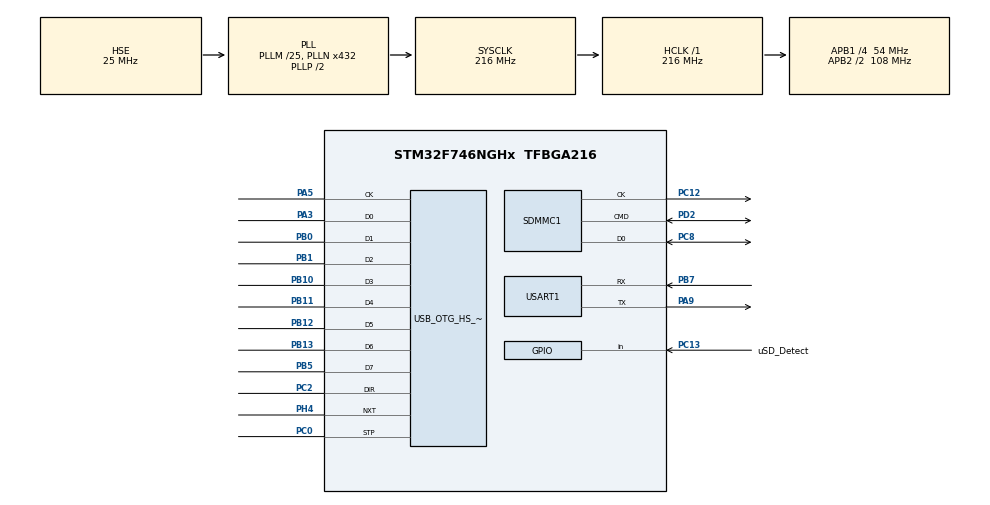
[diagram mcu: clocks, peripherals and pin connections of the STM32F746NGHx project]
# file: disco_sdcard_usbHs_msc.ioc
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CORTEX_M7.CPU_DCache=Enabled
CORTEX_M7.CPU_ICache=Enabled
CORTEX_M7.default_mode_Activation=1
Dma.Request0=SDMMC1_RX
Dma.Request1=SDMMC1_TX
Dma.SDMMC1_RX.0.Direction=DMA_PERIPH_TO_MEMORY
Dma.SDMMC1_RX.0.FIFOMode=DMA_FIFOMODE_ENABLE
Dma.SDMMC1_RX.0.FIFOThreshold=DMA_FIFO_THRESHOLD_FULL
Dma.SDMMC1_RX.0.Instance=DMA2_Stream3
Dma.SDMMC1_RX.0.MemBurst=DMA_MBURST_INC4
Dma.SDMMC1_RX.0.MemDataAlignment=DMA_MDATAALIGN_WORD
Dma.SDMMC1_RX.0.MemInc=DMA_MINC_ENABLE
Dma.SDMMC1_RX.0.Mode=DMA_PFCTRL
Dma.SDMMC1_RX.0.PeriphBurst=DMA_PBURST_INC4
Dma.SDMMC1_RX.0.PeriphDataAlignment=DMA_PDATAALIGN_WORD
Dma.SDMMC1_RX.0.PeriphInc=DMA_PINC_DISABLE
Dma.SDMMC1_RX.0.Priority=DMA_PRIORITY_LOW
Dma.SDMMC1_TX.1.Direction=DMA_MEMORY_TO_PERIPH
Dma.SDMMC1_TX.1.FIFOMode=DMA_FIFOMODE_ENABLE
Dma.SDMMC1_TX.1.FIFOThreshold=DMA_FIFO_THRESHOLD_FULL
Dma.SDMMC1_TX.1.Instance=DMA2_Stream6
Dma.SDMMC1_TX.1.MemBurst=DMA_MBURST_INC4
Dma.SDMMC1_TX.1.MemDataAlignment=DMA_MDATAALIGN_WORD
Dma.SDMMC1_TX.1.MemInc=DMA_MINC_ENABLE
Dma.SDMMC1_TX.1.Mode=DMA_PFCTRL
Dma.SDMMC1_TX.1.PeriphBurst=DMA_PBURST_INC4
Dma.SDMMC1_TX.1.PeriphDataAlignment=DMA_PDATAALIGN_WORD
Dma.SDMMC1_TX.1.PeriphInc=DMA_PINC_DISABLE
Dma.SDMMC1_TX.1.Priority=DMA_PRIORITY_LOW
FATFS.BSP.number=1
FATFS.USE_DMA_CODE_SD=1
FATFS._MAX_SS=512
FATFS._MIN_SS=512
FATFS._MULTI_PARTITION=1
FATFS0.BSP.STBoard=false
FATFS0.BSP.api=Unknown
FATFS0.BSP.instance=PC13
FATFS0.BSP.ip=GPIO
FATFS0.BSP.mode=Input
FATFS0.BSP.name=Detect_SDIO
FATFS0.BSP.solution=PC13
Mcu.Family=STM32F7
Mcu.Name=STM32F746NGHx
Mcu.Package=TFBGA216
NVIC.DMA2_Stream3_IRQn=true\:0\:0\:false\:false\:true\:false\:true\:true
NVIC.DMA2_Stream6_IRQn=true\:0\:0\:false\:false\:true\:false\:true\:true
NVIC.OTG_HS_IRQn=true\:0\:0\:false\:false\:true\:false\:true\:true
NVIC.PriorityGroup=NVIC_PRIORITYGROUP_4
NVIC.SDMMC1_IRQn=true\:0\:0\:false\:false\:true\:true\:true\:true
NVIC.USART1_IRQn=true\:0\:0\:false\:false\:true\:true\:true\:true
PA13.Mode=Serial_Wire
PA13.Signal=SYS_JTMS-SWDIO
PA14.Mode=Serial_Wire
PA14.Signal=SYS_JTCK-SWCLK
PA3.Mode=Device_HS
PA3.Signal=USB_OTG_HS_ULPI_D0
PA5.Mode=Device_HS
PA5.Signal=USB_OTG_HS_ULPI_CK
PA9.Mode=Asynchronous
PA9.Signal=USART1_TX
PB0.Mode=Device_HS
PB0.Signal=USB_OTG_HS_ULPI_D1
PB1.Mode=Device_HS
PB1.Signal=USB_OTG_HS_ULPI_D2
PB10.Mode=Device_HS
PB10.Signal=USB_OTG_HS_ULPI_D3
PB11.Mode=Device_HS
PB11.Signal=USB_OTG_HS_ULPI_D4
PB12.Mode=Device_HS
PB12.Signal=USB_OTG_HS_ULPI_D5
PB13.Mode=Device_HS
PB13.Signal=USB_OTG_HS_ULPI_D6
PB5.Mode=Device_HS
PB5.Signal=USB_OTG_HS_ULPI_D7
PB7.Mode=Asynchronous
PB7.Signal=USART1_RX
PC0.Mode=Device_HS
PC0.Signal=USB_OTG_HS_ULPI_STP
PC12.Mode=SD_1_bit
PC12.Signal=SDMMC1_CK
PC13.GPIO_Label=uSD_Detect
PC13.Signal=GPIO_Input
PC14/OSC32_IN.Mode=LSE-External-Oscillator
PC14/OSC32_IN.Signal=RCC_OSC32_IN
PC15/OSC32_OUT.Mode=LSE-External-Oscillator
PC15/OSC32_OUT.Signal=RCC_OSC32_OUT
PC2.Mode=Device_HS
PC2.Signal=USB_OTG_HS_ULPI_DIR
PC8.Mode=SD_1_bit
PC8.Signal=SDMMC1_D0
PD2.Mode=SD_1_bit
PD2.Signal=SDMMC1_CMD
PH0/OSC_IN.Mode=HSE-External-Oscillator
PH0/OSC_IN.Signal=RCC_OSC_IN
PH1/OSC_OUT.Mode=HSE-External-Oscillator
PH1/OSC_OUT.Signal=RCC_OSC_OUT
PH4.Mode=Device_HS
PH4.Signal=USB_OTG_HS_ULPI_NXT
ProjectManager.HeapSize=0x400
ProjectManager.StackSize=0x800
ProjectManager.TargetToolchain=STM32CubeIDE
RCC.AHBFreq_Value=216000000
RCC.APB1CLKDivider=RCC_HCLK_DIV4
RCC.APB1Freq_Value=54000000
RCC.APB1TimFreq_Value=108000000
RCC.APB2CLKDivider=RCC_HCLK_DIV2
RCC.APB2Freq_Value=108000000
RCC.APB2TimFreq_Value=216000000
RCC.CortexFreq_Value=216000000
RCC.HCLKFreq_Value=216000000
RCC.HSE_VALUE=25000000
RCC.HSI_VALUE=16000000
RCC.PLL48CLockSelection=RCC_CLK48SOURCE_PLLSAIP
RCC.PLLI2SN=100
RCC.PLLM=25
RCC.PLLN=432
RCC.PLLQ=8
RCC.PLLSAIP=RCC_PLLSAIP_DIV4
RCC.PLLSAIR=5
RCC.PLLSAIRDiv=RCC_PLLSAIDIVR_8
RCC.PLLSourceVirtual=RCC_PLLSOURCE_HSE
RCC.SDMMCClockSelection=RCC_SDMMC1CLKSOURCE_CLK48
RCC.SYSCLKFreq_VALUE=216000000
RCC.SYSCLKSource=RCC_SYSCLKSOURCE_PLLCLK
RCC.USBFreq_Value=48000000
RCC.VCOOutputFreq_Value=432000000
SDMMC1.ClockDiv=0
USART1.VirtualMode-Asynchronous=VM_ASYNC
USB_DEVICE.CLASS_NAME_FS=MSC
USB_DEVICE.CLASS_NAME_HS=MSC
USB_DEVICE.MSC_MEDIA_PACKET-MSC_HS=32768
USB_DEVICE.VirtualMode-MSC_FS=Msc
USB_DEVICE.VirtualMode-MSC_HS=Msc
USB_DEVICE.VirtualModeFS=Msc_FS
USB_DEVICE.VirtualModeHS=Msc_HS
USB_OTG_HS.VirtualMode-Device_HS=Device_HS
VP_FATFS_VS_SDIO.Mode=SDIO
VP_USB_DEVICE_VS_USB_DEVICE_MSC_HS.Mode=MSC_HS
board=STM32F746G-DISCO

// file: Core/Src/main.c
/* USER CODE BEGIN Header */
/**
 ******************************************************************************
 * @file           : main.c
 * @brief          : Main program body
 ******************************************************************************
 * @attention
 *
 * Copyright (c) 2025 STMicroelectronics.
 * All rights reserved.
 *
 * This software is licensed under terms that can be found in the LICENSE file
 * in the root directory of this software component.
 * If no LICENSE file comes with this software, it is provided AS-IS.
 *
 ******************************************************************************
 */
/* USER CODE END Header */
#include "main.h"
#include "fatfs.h"
#include "usb_device.h"

/* USER CODE BEGIN Includes */
#include <stdio.h>

#include "stm32f7xx_hal.h"
#include "fatfs.h"
#include "bsp_driver_sd.h"
#include <string.h>
/* USER CODE END Includes */

SD_HandleTypeDef hsd1;
DMA_HandleTypeDef hdma_sdmmc1_rx;
DMA_HandleTypeDef hdma_sdmmc1_tx;

UART_HandleTypeDef huart1;

void SystemClock_Config(void);
static void MPU_Config(void);
static void MX_GPIO_Init(void);
static void MX_DMA_Init(void);
static void MX_USART1_UART_Init(void);
static void MX_SDMMC1_SD_Init(void);

/* USER CODE BEGIN 0 */

int _write(int file, char *ptr, int len) {
    for (int i = 0; i < len; i++) {
        HAL_UART_Transmit(&huart1, (uint8_t *)&ptr[i], 1, HAL_MAX_DELAY);
    }
    return len;
}

/*
 * 50mhz
 * 	 noname FatFs: Write speed: 77.00 KB/s	 512b	buffer
 * 	 		FatFs: Write speed: 1595.02 KB/s 32kb	buffer
* 	  UHS-1 FatFs: Write speed: 430.61 KB/s	 512b	buffer
* 			FatFs: Write speed: 951.26 KB/s	 1kb	buffer
 * 			FatFs: Write speed: 1882.82 KB/s 2kb	buffer
 *			FatFs: Write speed: 3494.82 KB/s 4kb	buffer
 *			FatFs: Write speed: 5688.95 KB/s 8kb	buffer
 *			FatFs: Write speed: 6243.90 KB/s 16kb	buffer
 *			FatFs: Write speed: 6249.35 KB/s 32kb	buffer
 *			FatFs: Failed to open/create file!! 64kb buffer error
 *
 *50 mhz 56kb buffer FatFs: Write speed: 9524.16 KB/s
 */

/* USER CODE END 0 */

int main(void)
{

  /* MPU Configuration--------------------------------------------------------*/
  MPU_Config();

  /* Enable the CPU Cache */

  /* Enable I-Cache---------------------------------------------------------*/
  SCB_EnableICache();

  /* Enable D-Cache---------------------------------------------------------*/
  SCB_EnableDCache();

  /* MCU Configuration--------------------------------------------------------*/

  /* Reset of all peripherals, Initializes the Flash interface and the Systick. */
  HAL_Init();

  /* Configure the system clock */
  SystemClock_Config();

  /* Initialize all configured peripherals */
  MX_GPIO_Init();
  MX_DMA_Init();
  MX_USART1_UART_Init();
  MX_SDMMC1_SD_Init();
  MX_FATFS_Init();
  MX_USB_DEVICE_Init();
  /* USER CODE BEGIN 2 */
  setvbuf(stdout, NULL, _IONBF, 0);
  /* USER CODE END 2 */

  /* Infinite loop */
  /* USER CODE BEGIN WHILE */

	int var = 0;
	while (1) {
		printf(".");
		var++;
		if(var==10){
			var=0;
			printf("\r\n");
		}

		HAL_Delay(1000);  // 1 saniye bekle
    /* USER CODE END WHILE */

	}
}

void SystemClock_Config(void)
{
  RCC_OscInitTypeDef RCC_OscInitStruct = {0};
  RCC_ClkInitTypeDef RCC_ClkInitStruct = {0};

  /** Configure LSE Drive Capability
  */
  HAL_PWR_EnableBkUpAccess();

  /** Configure the main internal regulator output voltage
  */
  __HAL_RCC_PWR_CLK_ENABLE();
  __HAL_PWR_VOLTAGESCALING_CONFIG(PWR_REGULATOR_VOLTAGE_SCALE1);

  /** Initializes the RCC Oscillators according to the specified parameters
  * in the RCC_OscInitTypeDef structure.
  */
  RCC_OscInitStruct.OscillatorType = RCC_OSCILLATORTYPE_HSE;
  RCC_OscInitStruct.HSEState = RCC_HSE_ON;
  RCC_OscInitStruct.PLL.PLLState = RCC_PLL_ON;
  RCC_OscInitStruct.PLL.PLLSource = RCC_PLLSOURCE_HSE;
  RCC_OscInitStruct.PLL.PLLM = 25;
  RCC_OscInitStruct.PLL.PLLN = 432;
  RCC_OscInitStruct.PLL.PLLP = RCC_PLLP_DIV2;
  RCC_OscInitStruct.PLL.PLLQ = 8;
  if (HAL_RCC_OscConfig(&RCC_OscInitStruct) != HAL_OK)
  {
    Error_Handler();
  }

  /** Activate the Over-Drive mode
  */
  if (HAL_PWREx_EnableOverDrive() != HAL_OK)
  {
    Error_Handler();
  }

  /** Initializes the CPU, AHB and APB buses clocks
  */
  RCC_ClkInitStruct.ClockType = RCC_CLOCKTYPE_HCLK|RCC_CLOCKTYPE_SYSCLK
                              |RCC_CLOCKTYPE_PCLK1|RCC_CLOCKTYPE_PCLK2;
  RCC_ClkInitStruct.SYSCLKSource = RCC_SYSCLKSOURCE_PLLCLK;
  RCC_ClkInitStruct.AHBCLKDivider = RCC_SYSCLK_DIV1;
  RCC_ClkInitStruct.APB1CLKDivider = RCC_HCLK_DIV4;
  RCC_ClkInitStruct.APB2CLKDivider = RCC_HCLK_DIV2;

  if (HAL_RCC_ClockConfig(&RCC_ClkInitStruct, FLASH_LATENCY_7) != HAL_OK)
  {
    Error_Handler();
  }
}

static void MX_SDMMC1_SD_Init(void)
{

  hsd1.Instance = SDMMC1;
  hsd1.Init.ClockEdge = SDMMC_CLOCK_EDGE_RISING;
  hsd1.Init.ClockBypass = SDMMC_CLOCK_BYPASS_DISABLE;
  hsd1.Init.ClockPowerSave = SDMMC_CLOCK_POWER_SAVE_DISABLE;
  hsd1.Init.BusWide = SDMMC_BUS_WIDE_1B;
  hsd1.Init.HardwareFlowControl = SDMMC_HARDWARE_FLOW_CONTROL_DISABLE;
  hsd1.Init.ClockDiv = 0;
  /* USER CODE BEGIN SDMMC1_Init 2 */
  hsd1.Init.BusWide = SDMMC_BUS_WIDE_1B;// Set to 1-bit mode initially
  BSP_SD_Init();
  // Once the board is initialized and the pins are correctly configured,
  // the BSP will automatically attempt to switch to 4-bit mode.
  //When 4-bit mode is active, it not working without DMA. I don't understand the reason.

  /* USER CODE END SDMMC1_Init 2 */

}

static void MX_USART1_UART_Init(void)
{

  huart1.Instance = USART1;
  huart1.Init.BaudRate = 115200;
  huart1.Init.WordLength = UART_WORDLENGTH_8B;
  huart1.Init.StopBits = UART_STOPBITS_1;
  huart1.Init.Parity = UART_PARITY_NONE;
  huart1.Init.Mode = UART_MODE_TX_RX;
  huart1.Init.HwFlowCtl = UART_HWCONTROL_NONE;
  huart1.Init.OverSampling = UART_OVERSAMPLING_16;
  huart1.Init.OneBitSampling = UART_ONE_BIT_SAMPLE_DISABLE;
  huart1.AdvancedInit.AdvFeatureInit = UART_ADVFEATURE_NO_INIT;
  if (HAL_UART_Init(&huart1) != HAL_OK)
  {
    Error_Handler();
  }

}

static void MX_DMA_Init(void)
{

  /* DMA controller clock enable */
  __HAL_RCC_DMA2_CLK_ENABLE();

  /* DMA interrupt init */
  /* DMA2_Stream3_IRQn interrupt configuration */
  HAL_NVIC_SetPriority(DMA2_Stream3_IRQn, 0, 0);
  HAL_NVIC_EnableIRQ(DMA2_Stream3_IRQn);
  /* DMA2_Stream6_IRQn interrupt configuration */
  HAL_NVIC_SetPriority(DMA2_Stream6_IRQn, 0, 0);
  HAL_NVIC_EnableIRQ(DMA2_Stream6_IRQn);

}

static void MX_GPIO_Init(void)
{
  GPIO_InitTypeDef GPIO_InitStruct = {0};

  /* GPIO Ports Clock Enable */
  __HAL_RCC_GPIOB_CLK_ENABLE();
  __HAL_RCC_GPIOC_CLK_ENABLE();
  __HAL_RCC_GPIOA_CLK_ENABLE();
  __HAL_RCC_GPIOD_CLK_ENABLE();
  __HAL_RCC_GPIOH_CLK_ENABLE();

  /*Configure GPIO pin : uSD_Detect_Pin */
  GPIO_InitStruct.Pin = uSD_Detect_Pin;
  GPIO_InitStruct.Mode = GPIO_MODE_INPUT;
  GPIO_InitStruct.Pull = GPIO_NOPULL;
  HAL_GPIO_Init(uSD_Detect_GPIO_Port, &GPIO_InitStruct);

}

 /* MPU Configuration */

void MPU_Config(void)
{
  MPU_Region_InitTypeDef MPU_InitStruct = {0};

  /* Disables the MPU */
  HAL_MPU_Disable();

  /** Initializes and configures the Region and the memory to be protected
  */
  MPU_InitStruct.Enable = MPU_REGION_ENABLE;
  MPU_InitStruct.Number = MPU_REGION_NUMBER0;
  MPU_InitStruct.BaseAddress = 0x0;
  MPU_InitStruct.Size = MPU_REGION_SIZE_4GB;
  MPU_InitStruct.SubRegionDisable = 0x87;
  MPU_InitStruct.TypeExtField = MPU_TEX_LEVEL0;
  MPU_InitStruct.AccessPermission = MPU_REGION_NO_ACCESS;
  MPU_InitStruct.DisableExec = MPU_INSTRUCTION_ACCESS_DISABLE;
  MPU_InitStruct.IsShareable = MPU_ACCESS_SHAREABLE;
  MPU_InitStruct.IsCacheable = MPU_ACCESS_NOT_CACHEABLE;
  MPU_InitStruct.IsBufferable = MPU_ACCESS_NOT_BUFFERABLE;

  HAL_MPU_ConfigRegion(&MPU_InitStruct);
  /* Enables the MPU */
  HAL_MPU_Enable(MPU_PRIVILEGED_DEFAULT);

}

void Error_Handler(void)
{
	__disable_irq();
	while (1) {
	}
}

#ifdef  USE_FULL_ASSERT
/**
  * @brief  Reports the name of the source file and the source line number
  *         where the assert_param error has occurred.
  * @param  file: pointer to the source file name
  * @param  line: assert_param error line source number
  * @retval None
  */
void assert_failed(uint8_t *file, uint32_t line)
{
  /* USER CODE BEGIN 6 */
  /* User can add his own implementation to report the file name and line number,
     ex: UART_Print("Wrong parameters value: file %s on line %d\r\n", file, line) */
  /* USER CODE END 6 */
}
#endif /* USE_FULL_ASSERT */
